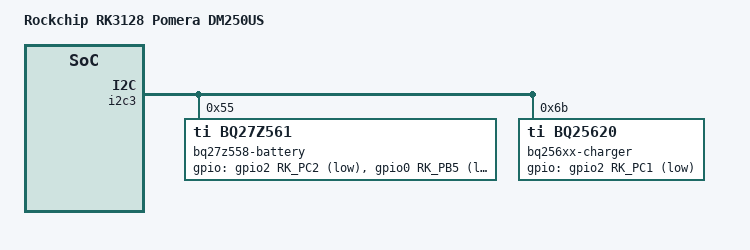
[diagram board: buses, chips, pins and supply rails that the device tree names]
// SPDX-License-Identifier: (GPL-2.0+ OR MIT)
/dts-v1/;

#include "pomera-dm250.dts"

/ {
	model = "Rockchip RK3128 Pomera DM250US";
};

&i2c3 {
	status = "okay";

	/* these only exist on the DM250US */
	bq27z558-battery@55 {
		compatible = "ti,bq27z561";
		reg = <0x55>;
		gpios = <&gpio2 RK_PC2 GPIO_ACTIVE_LOW>,
			<&gpio0 RK_PB5 GPIO_ACTIVE_LOW>;
		status = "okay";
	};

	bq256xx-charger@6b {
		compatible = "ti,bq25620";
		reg = <0x6b>;
		gpios = <&gpio2 RK_PC1 GPIO_ACTIVE_LOW>;
		ti,watchdog-timeout-ms = <0>;
		charge-current-limit-microamp = <2880000>;
		charge-voltage-limit-microvolt = <4230000>;
		input-current-limit-microamp = <3000000>;
		pre-charge-control-microamp = <580000>;
		termination-control-microamp = <150000>;
		ti,no-thermistor = <1>;
		status = "okay";
	};
};
